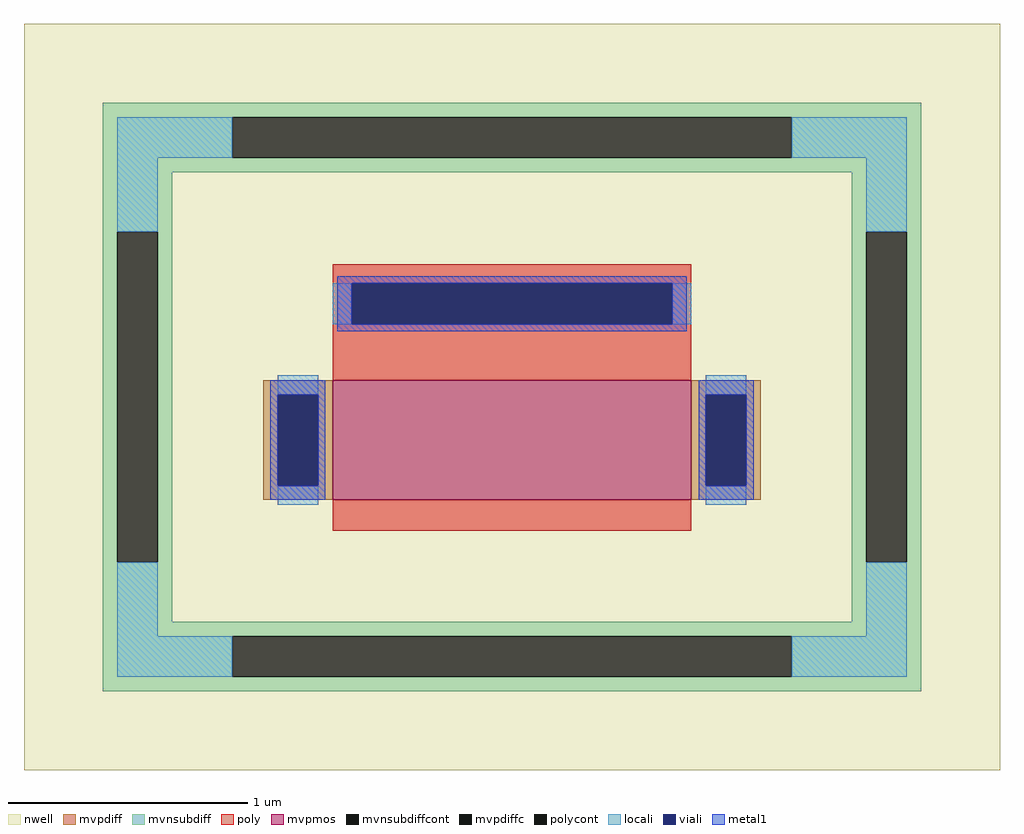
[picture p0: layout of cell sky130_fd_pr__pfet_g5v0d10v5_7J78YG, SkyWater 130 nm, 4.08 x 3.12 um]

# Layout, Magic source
magic
tech sky130A
magscale 1 2
<< nwell >>
rect -408 -312 408 312
<< mvpmos >>
rect -150 -86 150 14
<< mvpdiff >>
rect -208 2 -150 14
rect -208 -74 -196 2
rect -162 -74 -150 2
rect -208 -86 -150 -74
rect 150 2 208 14
rect 150 -74 162 2
rect 196 -74 208 2
rect 150 -86 208 -74
<< mvpdiffc >>
rect -196 -74 -162 2
rect 162 -74 196 2
<< mvnsubdiff >>
rect -342 234 342 246
rect -342 200 -234 234
rect 234 200 342 234
rect -342 188 342 200
rect -342 138 -284 188
rect -342 -138 -330 138
rect -296 -138 -284 138
rect 284 138 342 188
rect -342 -188 -284 -138
rect 284 -138 296 138
rect 330 -138 342 138
rect 284 -188 342 -138
rect -342 -200 342 -188
rect -342 -234 -234 -200
rect 234 -234 342 -200
rect -342 -246 342 -234
<< mvnsubdiffcont >>
rect -234 200 234 234
rect -330 -138 -296 138
rect 296 -138 330 138
rect -234 -234 234 -200
<< poly >>
rect -150 95 150 111
rect -150 61 -134 95
rect 134 61 150 95
rect -150 14 150 61
rect -150 -112 150 -86
<< polycont >>
rect -134 61 134 95
<< locali >>
rect -330 200 -234 234
rect 234 200 330 234
rect -330 138 -296 200
rect 296 138 330 200
rect -150 61 -134 95
rect 134 61 150 95
rect -196 2 -162 18
rect -196 -90 -162 -74
rect 162 2 196 18
rect 162 -90 196 -74
rect -330 -200 -296 -138
rect 296 -200 330 -138
rect -330 -234 -234 -200
rect 234 -234 330 -200
<< viali >>
rect -134 61 134 95
rect -196 -74 -162 2
rect 162 -74 196 2
<< metal1 >>
rect -146 95 146 101
rect -146 61 -134 95
rect 134 61 146 95
rect -146 55 146 61
rect -202 2 -156 14
rect -202 -74 -196 2
rect -162 -74 -156 2
rect -202 -86 -156 -74
rect 156 2 202 14
rect 156 -74 162 2
rect 196 -74 202 2
rect 156 -86 202 -74
<< properties >>
string FIXED_BBOX -313 -217 313 217
string gencell sky130_fd_pr__pfet_g5v0d10v5
string library sky130
string parameters w 0.5 l 1.5 m 1 nf 1 diffcov 100 polycov 100 guard 1 glc 1 grc 1 gtc 1 gbc 1 tbcov 100 rlcov 100 topc 1 botc 0 poverlap 0 doverlap 1 lmin 0.50 wmin 0.42 compatible {sky130_fd_pr__pfet_01v8  sky130_fd_pr__pfet_01v8_lvt sky130_fd_pr__pfet_01v8_hvt  sky130_fd_pr__pfet_g5v0d10v5} full_metal 1 viasrc 100 viadrn 100 viagate 100 viagb 0 viagr 0 viagl 0 viagt 0
<< end >>
